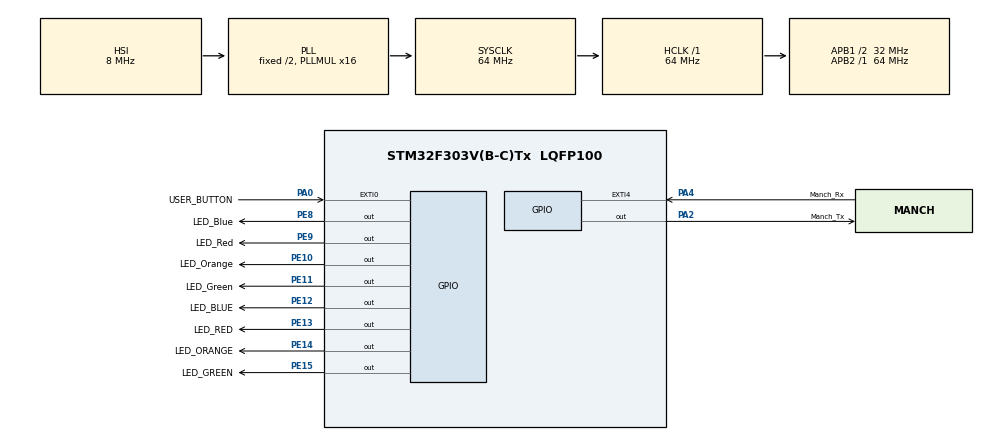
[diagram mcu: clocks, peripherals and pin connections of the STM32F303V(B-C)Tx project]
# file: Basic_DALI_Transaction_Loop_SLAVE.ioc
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Mcu.Family=STM32F3
Mcu.Name=STM32F303V(B-C)Tx
Mcu.Package=LQFP100
NVIC.EXTI0_IRQn=true\:1\:0\:true\:false\:true\:true
NVIC.EXTI4_IRQn=true\:1\:0\:true\:false\:true\:true
NVIC.PriorityGroup=NVIC_PRIORITYGROUP_4
NVIC.TIM2_IRQn=true\:1\:0\:true\:false\:true\:true
PA0.GPIO_Label=USER_BUTTON
PA0.GPIO_PuPd=GPIO_PULLDOWN
PA0.Signal=GPXTI0
PA2.GPIO_Label=Manch_Tx
PA2.GPIO_PuPd=GPIO_PULLDOWN
PA2.Signal=GPIO_Output
PA4.GPIO_Label=Manch_Rx
PA4.GPIO_ModeDefaultEXTI=GPIO_MODE_IT_RISING_FALLING
PA4.GPIO_PuPd=GPIO_PULLUP
PA4.Signal=GPXTI4
PE10.GPIO_Label=LED_Orange
PE10.GPIO_PuPd=GPIO_PULLDOWN
PE10.Signal=GPIO_Output
PE11.GPIO_Label=LED_Green
PE11.GPIO_PuPd=GPIO_PULLDOWN
PE11.Signal=GPIO_Output
PE12.GPIO_Label=LED_BLUE
PE12.GPIO_PuPd=GPIO_PULLDOWN
PE12.Signal=GPIO_Output
PE13.GPIO_Label=LED_RED
PE13.GPIO_PuPd=GPIO_PULLDOWN
PE13.Signal=GPIO_Output
PE14.GPIO_Label=LED_ORANGE
PE14.GPIO_PuPd=GPIO_PULLDOWN
PE14.Signal=GPIO_Output
PE15.GPIO_Label=LED_GREEN
PE15.GPIO_PuPd=GPIO_PULLDOWN
PE15.Signal=GPIO_Output
PE8.GPIO_Label=LED_Blue
PE8.GPIO_PuPd=GPIO_PULLDOWN
PE8.Signal=GPIO_Output
PE9.GPIO_Label=LED_Red
PE9.GPIO_PuPd=GPIO_PULLDOWN
PE9.Signal=GPIO_Output
ProjectManager.HeapSize=0x200
ProjectManager.StackSize=0x400
ProjectManager.TargetToolchain=Makefile
RCC.AHBFreq_Value=64000000
RCC.APB1CLKDivider=RCC_HCLK_DIV2
RCC.APB1Freq_Value=32000000
RCC.APB1TimFreq_Value=64000000
RCC.APB2Freq_Value=64000000
RCC.APB2TimFreq_Value=64000000
RCC.CortexFreq_Value=64000000
RCC.HCLKFreq_Value=64000000
RCC.HSE_VALUE=8000000
RCC.HSI_VALUE=8000000
RCC.LSE_VALUE=32768
RCC.PLLMUL=RCC_PLL_MUL16
RCC.SYSCLKFreq_VALUE=64000000
RCC.SYSCLKSourceVirtual=RCC_SYSCLKSOURCE_PLLCLK
RCC.USBFreq_Value=64000000
TIM2.AutoReloadPreload=TIM_AUTORELOAD_PRELOAD_ENABLE
TIM2.Period=103
TIM2.Prescaler=63
VP_TIM2_VS_ClockSourceINT.Mode=Internal
board=Basic_DALI_Transaction_Loop_SLAVE

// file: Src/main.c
/**
  ******************************************************************************
  * File Name          : main.c
  * Description        : Main program body
  ******************************************************************************
  ** This notice applies to any and all portions of this file
  * that are not between comment pairs USER CODE BEGIN and
  * USER CODE END. Other portions of this file, whether
  * inserted by the user or by software development tools
  * are owned by their respective copyright owners.
  *
  * COPYRIGHT(c) 2017 STMicroelectronics
  *
  * Redistribution and use in source and binary forms, with or without modification,
  * are permitted provided that the following conditions are met:
  *   1. Redistributions of source code must retain the above copyright notice,
  *      this list of conditions and the following disclaimer.
  *   2. Redistributions in binary form must reproduce the above copyright notice,
  *      this list of conditions and the following disclaimer in the documentation
  *      and/or other materials provided with the distribution.
  *   3. Neither the name of STMicroelectronics nor the names of its contributors
  *      may be used to endorse or promote products derived from this software
  *      without specific prior written permission.
  *
  * THIS SOFTWARE IS PROVIDED BY THE COPYRIGHT HOLDERS AND CONTRIBUTORS "AS IS"
  * AND ANY EXPRESS OR IMPLIED WARRANTIES, INCLUDING, BUT NOT LIMITED TO, THE
  * IMPLIED WARRANTIES OF MERCHANTABILITY AND FITNESS FOR A PARTICULAR PURPOSE ARE
  * DISCLAIMED. IN NO EVENT SHALL THE COPYRIGHT HOLDER OR CONTRIBUTORS BE LIABLE
  * FOR ANY DIRECT, INDIRECT, INCIDENTAL, SPECIAL, EXEMPLARY, OR CONSEQUENTIAL
  * DAMAGES (INCLUDING, BUT NOT LIMITED TO, PROCUREMENT OF SUBSTITUTE GOODS OR
  * SERVICES; LOSS OF USE, DATA, OR PROFITS; OR BUSINESS INTERRUPTION) HOWEVER
  * CAUSED AND ON ANY THEORY OF LIABILITY, WHETHER IN CONTRACT, STRICT LIABILITY,
  * OR TORT (INCLUDING NEGLIGENCE OR OTHERWISE) ARISING IN ANY WAY OUT OF THE USE
  * OF THIS SOFTWARE, EVEN IF ADVISED OF THE POSSIBILITY OF SUCH DAMAGE.
  *
  ******************************************************************************
  */

#include "main.h"
#include "stm32f3xx_hal.h"

TIM_HandleTypeDef htim2;

/* USER CODE BEGIN PV */
/* Private variables ---------------------------------------------------------*/
unsigned char start_timer = 0;
int tick_count = 0;
unsigned char bit_count = 0;
/* array initialization for receive buffer */
volatile unsigned char dali_slave_array_receive_buffer[17];

/*Address and command byte received variables */
volatile unsigned char slave_addr_byte_received;
volatile unsigned char slave_cmd_byte_received;
/* USER CODE END PV */

void SystemClock_Config(void);
static void MX_GPIO_Init(void);
static void MX_TIM2_Init(void);

/* USER CODE BEGIN PFP */
/* Private function prototypes -----------------------------------------------*/
void Forward_Frame_Received(void);
void DALI_Slave_Receiving_Data(void);
/* USER CODE END PFP */

int main(void)
{

  /* MCU Configuration----------------------------------------------------------*/

  /* Reset of all peripherals, Initializes the Flash interface and the Systick. */
  HAL_Init();

  /* Configure the system clock */
  SystemClock_Config();

  /* Initialize all configured peripherals */
  MX_GPIO_Init();
  MX_TIM2_Init();

  /* USER CODE BEGIN 2 */
  /* Wait for the first interrupt to occur - beware of first bit*/
  while(start_timer == 0)
    {
    }

  /* Start timer in base_IT mode */
  if(HAL_TIM_Base_Start_IT(&htim2) != HAL_OK)
    {
      _Error_Handler(__FILE__, __LINE__);
    }

  /* USER CODE END 2 */

  /* Infinite loop */
  while (1)
  {

  }

}

/** System Clock Configuration
*/
void SystemClock_Config(void)
{

  RCC_OscInitTypeDef RCC_OscInitStruct;
  RCC_ClkInitTypeDef RCC_ClkInitStruct;

    /**Initializes the CPU, AHB and APB busses clocks
    */
  RCC_OscInitStruct.OscillatorType = RCC_OSCILLATORTYPE_HSI;
  RCC_OscInitStruct.HSIState = RCC_HSI_ON;
  RCC_OscInitStruct.HSICalibrationValue = 16;
  RCC_OscInitStruct.PLL.PLLState = RCC_PLL_ON;
  RCC_OscInitStruct.PLL.PLLSource = RCC_PLLSOURCE_HSI;
  RCC_OscInitStruct.PLL.PLLMUL = RCC_PLL_MUL16;
  if (HAL_RCC_OscConfig(&RCC_OscInitStruct) != HAL_OK)
  {
    _Error_Handler(__FILE__, __LINE__);
  }

    /**Initializes the CPU, AHB and APB busses clocks
    */
  RCC_ClkInitStruct.ClockType = RCC_CLOCKTYPE_HCLK|RCC_CLOCKTYPE_SYSCLK
                              |RCC_CLOCKTYPE_PCLK1|RCC_CLOCKTYPE_PCLK2;
  RCC_ClkInitStruct.SYSCLKSource = RCC_SYSCLKSOURCE_PLLCLK;
  RCC_ClkInitStruct.AHBCLKDivider = RCC_SYSCLK_DIV1;
  RCC_ClkInitStruct.APB1CLKDivider = RCC_HCLK_DIV2;
  RCC_ClkInitStruct.APB2CLKDivider = RCC_HCLK_DIV1;

  if (HAL_RCC_ClockConfig(&RCC_ClkInitStruct, FLASH_LATENCY_2) != HAL_OK)
  {
    _Error_Handler(__FILE__, __LINE__);
  }

    /**Configure the Systick interrupt time
    */
  HAL_SYSTICK_Config(HAL_RCC_GetHCLKFreq()/1000);

    /**Configure the Systick
    */
  HAL_SYSTICK_CLKSourceConfig(SYSTICK_CLKSOURCE_HCLK);

  /* SysTick_IRQn interrupt configuration */
  HAL_NVIC_SetPriority(SysTick_IRQn, 0, 0);
}

/* TIM2 init function */
static void MX_TIM2_Init(void)
{

  TIM_ClockConfigTypeDef sClockSourceConfig;
  TIM_MasterConfigTypeDef sMasterConfig;

  htim2.Instance = TIM2;
  htim2.Init.Prescaler = 63;
  htim2.Init.CounterMode = TIM_COUNTERMODE_UP;
  htim2.Init.Period = 103;
  htim2.Init.ClockDivision = TIM_CLOCKDIVISION_DIV1;
  htim2.Init.AutoReloadPreload = TIM_AUTORELOAD_PRELOAD_ENABLE;
  if (HAL_TIM_Base_Init(&htim2) != HAL_OK)
  {
    _Error_Handler(__FILE__, __LINE__);
  }

  sClockSourceConfig.ClockSource = TIM_CLOCKSOURCE_INTERNAL;
  if (HAL_TIM_ConfigClockSource(&htim2, &sClockSourceConfig) != HAL_OK)
  {
    _Error_Handler(__FILE__, __LINE__);
  }

  sMasterConfig.MasterOutputTrigger = TIM_TRGO_RESET;
  sMasterConfig.MasterSlaveMode = TIM_MASTERSLAVEMODE_DISABLE;
  if (HAL_TIMEx_MasterConfigSynchronization(&htim2, &sMasterConfig) != HAL_OK)
  {
    _Error_Handler(__FILE__, __LINE__);
  }

}

/** Configure pins as
        * Analog
        * Input
        * Output
        * EVENT_OUT
        * EXTI
*/
static void MX_GPIO_Init(void)
{

  GPIO_InitTypeDef GPIO_InitStruct;

  /* GPIO Ports Clock Enable */
  __HAL_RCC_GPIOA_CLK_ENABLE();
  __HAL_RCC_GPIOE_CLK_ENABLE();

  /*Configure GPIO pin Output Level */
  HAL_GPIO_WritePin(Manch_Tx_GPIO_Port, Manch_Tx_Pin, GPIO_PIN_RESET);

  /*Configure GPIO pin Output Level */
  HAL_GPIO_WritePin(GPIOE, LED_Blue_Pin|LED_Red_Pin|LED_Orange_Pin|LED_Green_Pin
                          |LED_BLUE_Pin|LED_RED_Pin|LED_ORANGE_Pin|LED_GREEN_Pin, GPIO_PIN_RESET);

  /*Configure GPIO pin : USER_BUTTON_Pin */
  GPIO_InitStruct.Pin = USER_BUTTON_Pin;
  GPIO_InitStruct.Mode = GPIO_MODE_IT_RISING;
  GPIO_InitStruct.Pull = GPIO_PULLDOWN;
  HAL_GPIO_Init(USER_BUTTON_GPIO_Port, &GPIO_InitStruct);

  /*Configure GPIO pin : Manch_Tx_Pin */
  GPIO_InitStruct.Pin = Manch_Tx_Pin;
  GPIO_InitStruct.Mode = GPIO_MODE_OUTPUT_PP;
  GPIO_InitStruct.Pull = GPIO_PULLDOWN;
  GPIO_InitStruct.Speed = GPIO_SPEED_FREQ_LOW;
  HAL_GPIO_Init(Manch_Tx_GPIO_Port, &GPIO_InitStruct);

  /*Configure GPIO pin : Manch_Rx_Pin */
  GPIO_InitStruct.Pin = Manch_Rx_Pin;
  GPIO_InitStruct.Mode = GPIO_MODE_IT_RISING_FALLING;
  GPIO_InitStruct.Pull = GPIO_PULLUP;
  HAL_GPIO_Init(Manch_Rx_GPIO_Port, &GPIO_InitStruct);

  /*Configure GPIO pins : LED_Blue_Pin LED_Red_Pin LED_Orange_Pin LED_Green_Pin
                           LED_BLUE_Pin LED_RED_Pin LED_ORANGE_Pin LED_GREEN_Pin */
  GPIO_InitStruct.Pin = LED_Blue_Pin|LED_Red_Pin|LED_Orange_Pin|LED_Green_Pin
                          |LED_BLUE_Pin|LED_RED_Pin|LED_ORANGE_Pin|LED_GREEN_Pin;
  GPIO_InitStruct.Mode = GPIO_MODE_OUTPUT_PP;
  GPIO_InitStruct.Pull = GPIO_PULLDOWN;
  GPIO_InitStruct.Speed = GPIO_SPEED_FREQ_LOW;
  HAL_GPIO_Init(GPIOE, &GPIO_InitStruct);

  /* EXTI interrupt init*/
  HAL_NVIC_SetPriority(EXTI0_IRQn, 1, 0);
  HAL_NVIC_EnableIRQ(EXTI0_IRQn);

  HAL_NVIC_SetPriority(EXTI4_IRQn, 1, 0);
  HAL_NVIC_EnableIRQ(EXTI4_IRQn);

}

/* USER CODE BEGIN 4 */
void HAL_TIM_PeriodElapsedCallback(TIM_HandleTypeDef *htim)
{
  DALI_Slave_Receiving_Data();
}

void DALI_Slave_Receiving_Data(void)
{
  // WHEN FIRST CHANGE ON PIN IS DETECTED, tick_count IS RESTARTED
  /* **************************************************************** */
  /* The following value changed from 2 to 3 because minor changes in the Master code ! Beware */
  if(tick_count == (bit_count * 8 + 3))
    {
      if(HAL_GPIO_ReadPin(Manch_Rx_GPIO_Port, Manch_Rx_Pin) == GPIO_PIN_SET)
	{
	  dali_slave_array_receive_buffer[bit_count] = 0;
	}
      else if(HAL_GPIO_ReadPin(Manch_Rx_GPIO_Port, Manch_Rx_Pin) == GPIO_PIN_RESET)
	{
	  dali_slave_array_receive_buffer[bit_count] = 1;
	}
      /* USED FOR DEBUGGING */
      /* if(bit_count == 16) */
      /* 	{ */
      /* 	  if(HAL_GPIO_ReadPin(Manch_Rx_GPIO_Port, Manch_Rx_Pin) == GPIO_PIN_SET) */
      /* 	    { */
      /* 	      HAL_GPIO_WritePin(LED_GREEN_GPIO_Port, LED_GREEN_Pin, GPIO_PIN_SET); */
      /* 	    } */
      /* 	  else */
      /* 	    { */
      /* 	      HAL_GPIO_WritePin(LED_RED_GPIO_Port, LED_RED_Pin, GPIO_PIN_SET); */
      /* 	    } */
      /* 	} */
      /* USED FOR DEBUGGING */
    }
  // increment ticks
  tick_count++;

  // increment bit_count
  if(tick_count % 8 == 0)
    {
      bit_count++;
    }

  // transfer completed
  if(bit_count > 16)
    {
      // Forward_frame_receive function
      Forward_Frame_Received();

      // set dali state

      // turn TIM_Base_IT to stop
      if(HAL_TIM_Base_Stop_IT(&htim2) != HAL_OK)
	{
	  _Error_Handler(__FILE__, __LINE__);
	}

    }
}

void Forward_Frame_Received(void)
{
  unsigned char i;
  for (i = 1; i < 17; i++) // skip first bit - start bit
    {
      if(dali_slave_array_receive_buffer[i] == 1)
	{
	  // address byte
	  if(i < 9)
	    {
              slave_addr_byte_received |= (1 << (8 - i));
	    }
	  // command byte
	  else
	    {
	      slave_cmd_byte_received |= (1 << (7 - (i - 9)));
	    }
	}
    }

  if(slave_addr_byte_received == 0xD5)
    {
      HAL_GPIO_WritePin(LED_Blue_GPIO_Port, LED_Blue_Pin, GPIO_PIN_SET);

    }
  if(slave_cmd_byte_received == 0x56)
    {
      HAL_GPIO_WritePin(LED_Green_GPIO_Port, LED_Green_Pin, GPIO_PIN_SET);
    }
}

/* USER CODE END 4 */

void _Error_Handler(char * file, int line)
{
  while(1)
  {
  }
}

/************************ (C) COPYRIGHT STMicroelectronics *****END OF FILE****/
